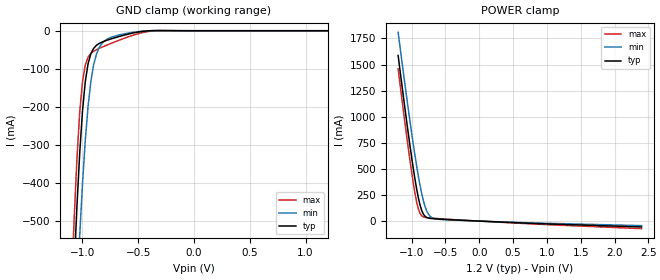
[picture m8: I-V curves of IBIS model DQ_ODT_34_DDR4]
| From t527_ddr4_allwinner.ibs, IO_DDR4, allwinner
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|   Model DQ_ODT_34_DDR4
[Model] DQ_ODT_34_DDR4
Model_type Input
Polarity   Non-Inverting
Enable   Active-High
Vinl =  0.600V
Vinh =  0.600V
C_comp   1.535pF   1.497pF   1.584pF
C_comp_power_clamp   0.417pF   0.400pF   0.439pF
C_comp_gnd_clamp   0.858pF   0.833pF   0.884pF
[Model Spec]
Vinh   0.600V   0.570V   0.630V
Vinl   0.600V   0.570V   0.630V
[Temperature Range]   25.000   0.125k   -40.000
[Voltage Range]   1.200V   1.140V   1.260V
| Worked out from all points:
|   GND clamp passes 1 mA (typ) near -0.44 V on its own axis
|   POWER clamp passes 1 mA (typ) near -0.03 V on its own axis
[GND_clamp]
|Voltage   I(typ)   I(min)   I(max)
-1.2V     -1.573A    -1.76A     -1.481A
-1.1V     -808.8mA   -1.038A    -681.3mA
-1.075V   -629.5mA   -862.5mA   -499mA
-1.05V    -465.2mA   -695.7mA   -339.6mA
-1.025V   -323.6mA   -541.4mA   -215.5mA
-1V       -212.4mA   -404.6mA   -134.2mA
-950mV    -87.19mA   -199.7mA   -69.68mA
-925mV    -60.67mA   -134.3mA   -59.7mA
-875mV    -38.46mA   -61.79mA   -49.99mA
-775mV    -24.53mA   -21.61mA   -37.15mA
-475mV    -2.276mA   -1.555mA   -5.855mA
1.2V      0A         0A         0A
[POWER_clamp]
|Voltage   I(typ)   I(min)   I(max)
-1.2V     1.587A     1.808A     1.458A
-1.1V     1.083A     1.313A     944.5mA
-1.025V   722.9mA    957mA      580.5mA
-975mV    500.3mA    732.1mA    360.4mA
-925mV    303.3mA    523mA      179.7mA
-900mV    220mA      427mA      115mA
-850mV    99.26mA    259.2mA    50.01mA
-800mV    44.92mA    135.8mA    35.13mA
-725mV    25.86mA    45.22mA    29.73mA
-625mV    20.42mA    19.21mA    24.88mA
-400mV    12.15mA    10.1mA     14.84mA
2.4V      -56.24mA   -43.68mA   -72.62mA
